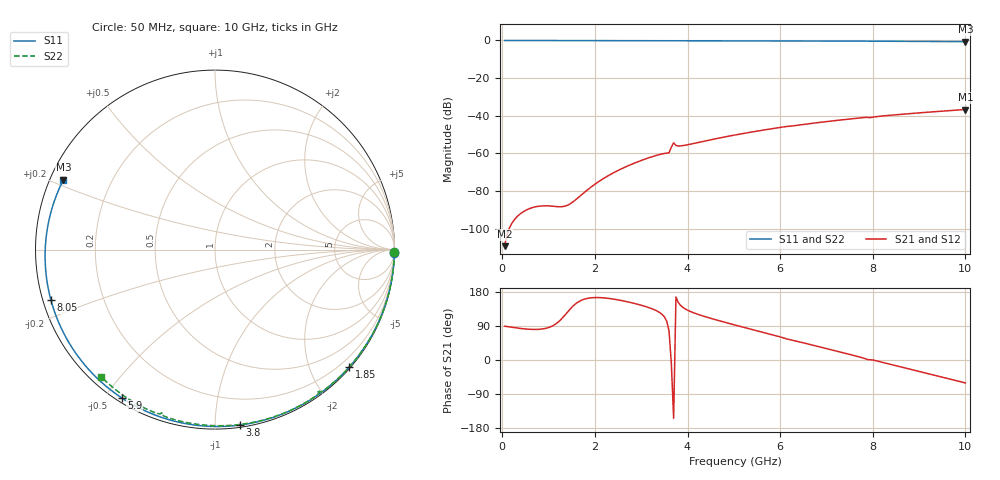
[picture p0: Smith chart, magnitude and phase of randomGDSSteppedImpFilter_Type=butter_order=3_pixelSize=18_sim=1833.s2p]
! freq	dB(S11)	phase(S11)	dB(S12)	phase(S12)
!  dB(S21)	phase(S21)	dB(S22)	phase(S22)
!S-par simulation data
#  GHz  S  DB  R 50
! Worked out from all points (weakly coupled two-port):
!   200 points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, 50 MHz to 10 GHz, reference 50 ohm
!   highest |S21| = -36.66 dB at 10 GHz (marker M1); lowest = -109.2 dB at 50 MHz (marker M2)
!   lowest |S11| = -0.6 dB at 10 GHz (marker M3), VSWR 27.54, Z = 1.9 + j11 ohm
!   |S11| at or under -10 dB: nowhere
!   |S22| runs from -0.4 to 0.0 dB; largest |S21 - S12| = 0
!   S11 on the Smith chart (normalised r, x): 50 MHz: open; 1.85 GHz: 0.02, -2.65; 3.8 GHz: 0.01, -1.15; 5.9 GHz: 0.02, -0.55; 8.05 GHz: 0.02, -0.15; 10 GHz: 0.04, +0.22
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0.05  -0.00 -1.2  -109.22 89.2  -109.22 89.2  -0.00 -0.8
0.85  -0.02 -19.2  -87.86 81.7  -87.86 81.7  -0.02 -12.9
1.75  -0.05 -39.1  -81.13 159.6  -81.13 159.6  -0.03 -26.3
1.8  -0.05 -40.2  -80.11 161.5  -80.11 161.5  -0.03 -27.1
1.85  -0.05 -41.3  -79.11 162.9  -79.11 162.9  -0.04 -27.8
2.2  -0.06 -48.8  -73.09 163.9  -73.09 163.9  -0.04 -32.9
2.55  -0.07 -56.3  -68.42 157.5  -68.42 157.5  -0.05 -38.0
3  -0.08 -65.6  -63.72 144.5  -63.72 144.5  -0.06 -44.5
3.4  -0.10 -73.8  -60.54 125.2  -60.54 125.2  -0.07 -50.2
3.6  -0.10 -77.9  -59.62 77.3  -59.62 77.3  -0.10 -53.4
3.7  -0.11 -79.9  -54.34 -153.8  -54.34 -153.8  -0.17 -53.5
3.75  -0.11 -80.9  -55.74 166.2  -55.74 166.2  -0.10 -54.5
3.8  -0.11 -81.9  -56.03 151.8  -56.03 151.8  -0.08 -55.4
4.4  -0.13 -93.7  -53.26 113.6  -53.26 113.6  -0.09 -63.8
5.05  -0.16 -106.2  -50.07 91.4  -50.07 91.4  -0.11 -72.4
5.9  -0.21 -122.2  -46.53 64.4  -46.53 64.4  -0.14 -83.4
6.7  -0.27 -137.2  -43.98 39.3  -43.98 39.3  -0.18 -93.4
7.4  -0.32 -150.4  -41.97 17.8  -41.97 17.8  -0.22 -101.9
8.05  -0.39 -163.0  -40.53 -1.3  -40.53 -1.3  -0.29 -109.2
8.35  -0.42 -168.9  -39.78 -10.5  -39.78 -10.5  -0.29 -112.9
9.2  -0.52 173.4  -38.07 -36.1  -38.07 -36.1  -0.36 -122.7
10  -0.63 155.2  -36.66 -60.6  -36.66 -60.6  -0.44 -131.9
